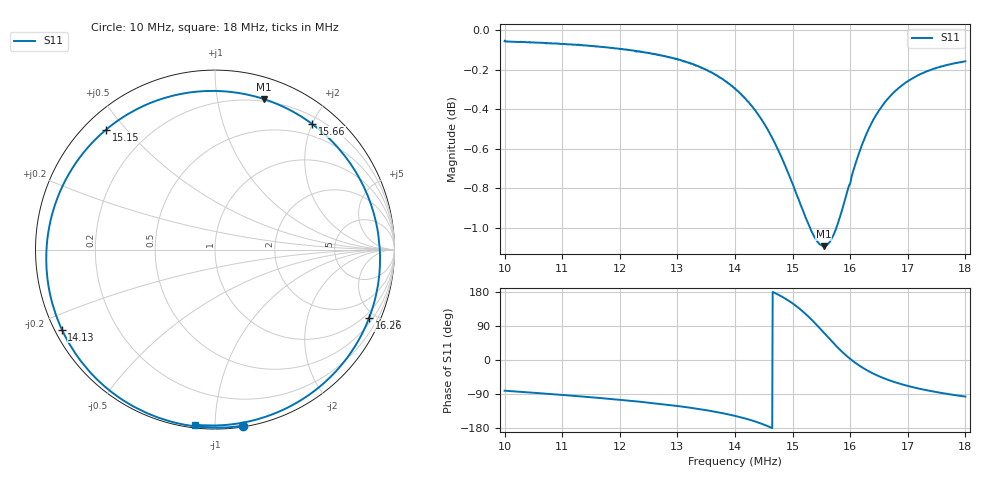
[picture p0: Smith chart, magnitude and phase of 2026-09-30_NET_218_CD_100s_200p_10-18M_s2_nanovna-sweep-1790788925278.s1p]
! NanoVNA Web complex sweep
! Processing: unaveraged complex samples; linear segment spacing; no smoothing
# Hz S RI R 50
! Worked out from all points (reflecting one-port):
!   1010 points, 10 MHz to 18 MHz, reference 50 ohm
!   lowest |S11| = -1.1 dB at 15.54 MHz (marker M1), VSWR 15.91, Z = 8.99 + j67.9 ohm
!   phase of S11 starts at -81 deg and turns -376 deg over the sweep
!   S11 on the Smith chart (normalised r, x): 10 MHz: 0.01, -1.17; 14.13 MHz: 0.02, -0.25; 15.15 MHz: 0.06, +0.44; 15.66 MHz: 0.31, +2.00; 16.26 MHz: 0.71, -4.60; 18 MHz: 0.02, -0.89
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1e7  0.1555 -0.9813
1.100698e7  -0.0391 -0.9912
1.200604e7  -0.2568 -0.9552
1.300509e7  -0.5129 -0.8386
1.356012e7  -0.6779 -0.7023
1.400414e7  -0.8161 -0.5178
1.413101e7  -0.8533 -0.4453
1.440852e7  -0.9205 -0.2416
1.466225e7  -0.938 0.0144
1.484462e7  -0.8928 0.2458
1.50032e7  -0.7838 0.4702
1.514592e7  -0.6066 0.6687
1.526486e7  -0.3926 0.8031
1.536e7  -0.1812 0.8688
1.545515e7  0.0526 0.8817
1.554237e7  0.2703 0.8393
1.566131e7  0.5403 0.7006
1.582782e7  0.8047 0.3974
1.591503e7  0.8799 0.2183
1.600225e7  0.9137 0.0427
1.612119e7  0.9111 -0.1756
1.625598e7  0.858 -0.3825
1.641456e7  0.7599 -0.5697
1.6589e7  0.6358 -0.7168
1.67793e7  0.5012 -0.8246
1.700131e7  0.3563 -0.9029
1.742154e7  0.1264 -0.9691
1.800036e7  -0.1123 -0.9755
